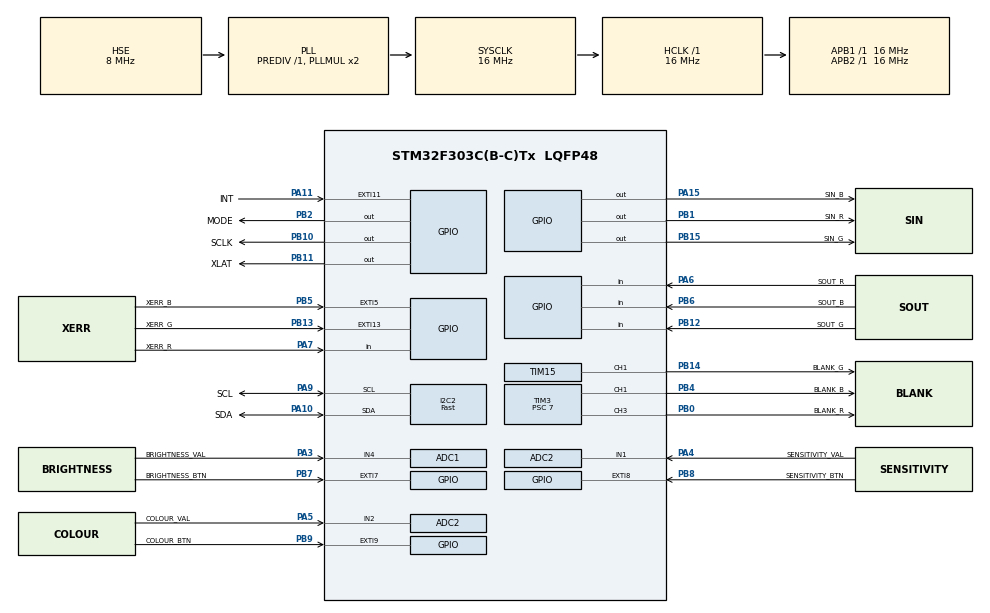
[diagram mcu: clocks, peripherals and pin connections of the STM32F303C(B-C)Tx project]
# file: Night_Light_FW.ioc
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ADC1.Channel-0\#ChannelRegularConversion=ADC_CHANNEL_4
ADC1.ContinuousConvMode=ENABLE
ADC1.EnableInjectedConversion=DISABLE
ADC1.Mode=ADC_MODE_INDEPENDENT
ADC1.NbrOfConversionFlag=1
ADC1.Offset-0\#ChannelRegularConversion=0
ADC1.OffsetNumber-0\#ChannelRegularConversion=ADC_OFFSET_NONE
ADC1.Rank-0\#ChannelRegularConversion=1
ADC1.SamplingTime-0\#ChannelRegularConversion=ADC_SAMPLETIME_601CYCLES_5
ADC1.SamplingTimeOPAMP-0\#ChannelRegularConversion=ADC_SAMPLETIME_4CYCLES_5
ADC1.master=1
ADC2.Channel-3\#ChannelRegularConversion=ADC_CHANNEL_2
ADC2.ContinuousConvMode=ENABLE
ADC2.DMAContinuousRequests=ENABLE
ADC2.EnableInjectedConversion=DISABLE
ADC2.NbrOfConversion=2
ADC2.NbrOfConversionFlag=1
ADC2.Offset-3\#ChannelRegularConversion=0
ADC2.OffsetNumber-3\#ChannelRegularConversion=ADC_OFFSET_NONE
ADC2.Rank-3\#ChannelRegularConversion=2
ADC2.SamplingTime-0\#ChannelRegularConversion=ADC_SAMPLETIME_601CYCLES_5
ADC2.SamplingTime-3\#ChannelRegularConversion=ADC_SAMPLETIME_601CYCLES_5
ADC2.SamplingTimeOPAMP-3\#ChannelRegularConversion=ADC_SAMPLETIME_7CYCLES_5
ADC2.SequencerNbRanks=2
Dma.ADC2.0.Direction=DMA_PERIPH_TO_MEMORY
Dma.ADC2.0.Instance=DMA2_Channel1
Dma.ADC2.0.MemDataAlignment=DMA_MDATAALIGN_HALFWORD
Dma.ADC2.0.MemInc=DMA_MINC_ENABLE
Dma.ADC2.0.Mode=DMA_CIRCULAR
Dma.ADC2.0.PeriphDataAlignment=DMA_PDATAALIGN_HALFWORD
Dma.ADC2.0.PeriphInc=DMA_PINC_DISABLE
Dma.ADC2.0.Priority=DMA_PRIORITY_LOW
Dma.Request0=ADC2
I2C2.I2C_Speed_Mode=I2C_Fast
I2C2.Speed=100
I2C2.Timing=0x00100A8E
Mcu.Family=STM32F3
Mcu.Name=STM32F303C(B-C)Tx
Mcu.Package=LQFP48
NVIC.DMA2_Channel1_IRQn=true\:0\:0\:false\:false\:true\:false\:true\:true
NVIC.EXTI15_10_IRQn=true\:0\:0\:false\:false\:true\:true\:true\:true
NVIC.EXTI9_5_IRQn=true\:0\:0\:false\:false\:true\:true\:true\:true
NVIC.I2C2_ER_IRQn=true\:0\:0\:false\:false\:true\:true\:true\:true
NVIC.I2C2_EV_IRQn=true\:0\:0\:false\:false\:true\:true\:true\:true
NVIC.PriorityGroup=NVIC_PRIORITYGROUP_4
NVIC.TIM2_IRQn=true\:0\:0\:false\:false\:true\:true\:true\:true
PA10.GPIO_Label=SDA
PA10.Mode=I2C
PA10.Signal=I2C2_SDA
PA11.GPIO_Label=INT
PA11.GPIO_ModeDefaultEXTI=GPIO_MODE_IT_FALLING
PA11.Signal=GPXTI11
PA13.GPIO_Label=SWDIO
PA13.Mode=Trace_Asynchronous_SW
PA13.Signal=SYS_JTMS-SWDIO
PA14.GPIO_Label=SWCLK
PA14.Mode=Trace_Asynchronous_SW
PA14.Signal=SYS_JTCK-SWCLK
PA15.GPIO_Label=SIN_B
PA15.Signal=GPIO_Output
PA3.GPIO_Label=BRIGHTNESS_VAL
PA3.Mode=IN4-Single-Ended
PA3.Signal=ADC1_IN4
PA4.GPIO_Label=SENSITIVITY_VAL
PA4.GPIO_Mode=GPIO_MODE_ANALOG
PA4.GPIO_PuPd=GPIO_NOPULL
PA4.Mode=IN1-Single-Ended
PA4.Signal=ADC2_IN1
PA5.GPIO_Label=COLOUR_VAL
PA5.GPIO_Mode=GPIO_MODE_ANALOG
PA5.GPIO_PuPd=GPIO_NOPULL
PA5.Mode=IN2-Single-Ended
PA5.Signal=ADC2_IN2
PA6.GPIO_Label=SOUT_R
PA6.GPIO_PuPd=GPIO_PULLUP
PA6.Signal=GPIO_Input
PA7.GPIO_Label=XERR_R
PA7.GPIO_PuPd=GPIO_PULLUP
PA7.Signal=GPIO_Input
PA9.GPIO_Label=SCL
PA9.Mode=I2C
PA9.Signal=I2C2_SCL
PB0.GPIO_Label=BLANK_R
PB0.Signal=S_TIM3_CH3
PB1.GPIO_Label=SIN_R
PB1.Signal=GPIO_Output
PB10.GPIO_Label=SCLK
PB10.Signal=GPIO_Output
PB11.GPIO_Label=XLAT
PB11.Signal=GPIO_Output
PB12.GPIO_Label=SOUT_G
PB12.GPIO_PuPd=GPIO_PULLUP
PB12.Signal=GPIO_Input
PB13.GPIO_Label=XERR_G
PB13.GPIO_ModeDefaultEXTI=GPIO_MODE_IT_RISING_FALLING
PB13.GPIO_PuPd=GPIO_PULLUP
PB13.Signal=GPXTI13
PB14.GPIO_Label=BLANK_G
PB14.Signal=S_TIM15_CH1
PB15.GPIO_Label=SIN_G
PB15.Signal=GPIO_Output
PB2.GPIO_Label=MODE
PB2.Signal=GPIO_Output
PB3.GPIO_Label=SWO
PB3.Mode=Trace_Asynchronous_SW
PB3.Signal=SYS_JTDO-TRACESWO
PB4.GPIO_Label=BLANK_B
PB4.Signal=S_TIM3_CH1
PB5.GPIO_Label=XERR_B
PB5.GPIO_ModeDefaultEXTI=GPIO_MODE_IT_RISING_FALLING
PB5.GPIO_PuPd=GPIO_PULLUP
PB5.Signal=GPXTI5
PB6.GPIO_Label=SOUT_B
PB6.GPIO_PuPd=GPIO_PULLUP
PB6.Signal=GPIO_Input
PB7.GPIO_Label=BRIGHTNESS_BTN
PB7.GPIO_ModeDefaultEXTI=GPIO_MODE_IT_RISING_FALLING
PB7.Signal=GPXTI7
PB8.GPIO_Label=SENSITIVITY_BTN
PB8.GPIO_ModeDefaultEXTI=GPIO_MODE_IT_RISING_FALLING
PB8.Signal=GPXTI8
PB9.GPIO_Label=COLOUR_BTN
PB9.GPIO_ModeDefaultEXTI=GPIO_MODE_IT_RISING_FALLING
PB9.Signal=GPXTI9
PF0-OSC_IN.Mode=HSE-External-Oscillator
PF0-OSC_IN.Signal=RCC_OSC_IN
PF1-OSC_OUT.Mode=HSE-External-Oscillator
PF1-OSC_OUT.Signal=RCC_OSC_OUT
ProjectManager.HeapSize=0x200
ProjectManager.StackSize=0x400
ProjectManager.TargetToolchain=STM32CubeIDE
RCC.AHBFreq_Value=16000000
RCC.APB1Freq_Value=16000000
RCC.APB1TimFreq_Value=16000000
RCC.APB2Freq_Value=16000000
RCC.APB2TimFreq_Value=16000000
RCC.CortexFreq_Value=16000000
RCC.HCLKFreq_Value=16000000
RCC.HSE_VALUE=8000000
RCC.HSI_VALUE=8000000
RCC.I2c2ClockSelection=RCC_I2C2CLKSOURCE_SYSCLK
RCC.LSE_VALUE=32768
RCC.PLLSourceVirtual=RCC_PLLSOURCE_HSE
RCC.SYSCLKFreq_VALUE=16000000
RCC.SYSCLKSourceVirtual=RCC_SYSCLKSOURCE_PLLCLK
RCC.USBFreq_Value=16000000
SH.S_TIM15_CH1.0=TIM15_CH1,PWM Generation1 CH1
SH.S_TIM3_CH1.0=TIM3_CH1,PWM Generation1 CH1
SH.S_TIM3_CH3.0=TIM3_CH3,PWM Generation3 CH3
TIM15.Channel-PWM\ Generation1\ CH1=TIM_CHANNEL_1
TIM15.Period=1000
TIM15.Prescaler=7
TIM15.Pulse-PWM\ Generation1\ CH1=500
TIM2.Period=1000
TIM2.Prescaler=63
TIM3.AutoReloadPreload=TIM_AUTORELOAD_PRELOAD_ENABLE
TIM3.Channel-PWM\ Generation1\ CH1=TIM_CHANNEL_1
TIM3.Channel-PWM\ Generation3\ CH3=TIM_CHANNEL_3
TIM3.Period=1000
TIM3.Prescaler=7
VP_TIM2_VS_ClockSourceINT.Mode=Internal
VP_TIM3_VS_ClockSourceINT.Mode=Internal
board=custom

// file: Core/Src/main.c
/* USER CODE BEGIN Header */
/**
 ******************************************************************************
 * @file           : main.c
 * @brief          : Main program body
 ******************************************************************************
 * @attention
 *
 * Copyright (c) 2023 STMicroelectronics.
 * All rights reserved.
 *
 * This software is licensed under terms that can be found in the LICENSE file
 * in the root directory of this software component.
 * If no LICENSE file comes with this software, it is provided AS-IS.
 *
 ******************************************************************************
 */
/* USER CODE END Header */
#include "main.h"

/* USER CODE BEGIN Includes */
#include <stdint.h>
#include "globals.h"
#include "LED_driver_config.h"
#include "state_machine.h"
#include "colour_control.h"
#include "external_interrupts.h"
#include "timers.h"
#include <stdio.h>
#include "debug_flags.h"

/* USER CODE END Includes */

ADC_HandleTypeDef hadc1;
ADC_HandleTypeDef hadc2;
DMA_HandleTypeDef hdma_adc2;

I2C_HandleTypeDef hi2c2;

TIM_HandleTypeDef htim2;
TIM_HandleTypeDef htim3;
TIM_HandleTypeDef htim15;

/* USER CODE BEGIN PV */

uint16_t pot1_moving_average_buffer[MOVING_AVERAGE_SIZE] = { 0 };
uint16_t pot2_moving_average_buffer[MOVING_AVERAGE_SIZE] = { 0 };
uint16_t pot3_moving_average_buffer[MOVING_AVERAGE_SIZE] = { 0 };
uint16_t pot1_buffer_sum = 0;
uint16_t pot2_buffer_sum = 0;
uint16_t pot3_buffer_sum = 0;
uint8_t buffer_index = 0;
volatile uint16_t pot1_moving_average = 0;
volatile uint16_t pot2_moving_average = 0;
volatile uint16_t pot3_moving_average = 0;
volatile uint16_t adc2_dma_buffer[NUM_DMA_CHANNELS];

volatile PotFlag potentiometer_flag = WAITING_FOR_READING;

State colour_mode = WHITE_LIGHT;
State previous_state = WHITE_LIGHT;
State current_state = STANDBY;
PotCalibrationSubstate pot_cal_substate = POT_CALIBRATION_START;
LEDCalibrationSubstate led_cal_substate = LED_CALIBRATION_START;

volatile EventType event_flag = NO_EVENT;

ButtonState brightness_btn_state = NONE;
ButtonState colour_btn_state = NONE;
ButtonState sensitivity_btn_state = NONE;

uint32_t brightness_btn_time;
uint32_t colour_btn_time;
uint32_t sensitivity_btn_time;

uint8_t red_thermal_error_flag = 0;
uint8_t green_thermal_error_flag = 0;
uint8_t blue_thermal_error_flag = 0;
uint16_t red_lod_flag = 0;
uint16_t green_lod_flag = 0;
uint16_t blue_lod_flag = 0;

volatile uint32_t mlux_reading = 0xFFFFFFFF;

volatile SensorFlag light_sensor_flag = WAITING;

uint16_t pot1_calibration_buffer[2];
uint16_t pot2_calibration_buffer[2];
uint16_t pot3_calibration_buffer[2];

uint16_t led_calibration_buffer[NUM_LEDS][3];

uint32_t brightness_calibration_buffer[1 + (NUM_CAL_INCS + 1) + 1][2];
uint32_t white_calibration_buffer[1 + (NUM_CAL_INCS + 1) + 1][2];
uint32_t colour_calibration_buffer[1 + NUM_CAL_INCS + 1][2];

volatile CalibrationFlag pot_calibration_flag = INITIALISE_CALIBRATIONS;
volatile CalibrationFlag led_calibration_flag = INITIALISE_CALIBRATIONS;
volatile CalibrationFlag sensor_calibration_flag = INITIALISE_CALIBRATIONS;

/* USER CODE END PV */

void SystemClock_Config(void);
static void MX_GPIO_Init(void);
static void MX_DMA_Init(void);
static void MX_ADC1_Init(void);
static void MX_ADC2_Init(void);
static void MX_I2C2_Init(void);
static void MX_TIM3_Init(void);
static void MX_TIM15_Init(void);
static void MX_TIM2_Init(void);

int main(void) {

	/* MCU Configuration--------------------------------------------------------*/

	/* Reset of all peripherals, Initializes the Flash interface and the Systick. */
	HAL_Init();

	/* Configure the system clock */
	SystemClock_Config();

	/* USER CODE BEGIN SysInit */
	printf("          \n");
	printf("Night Light v0.2\n");
	printf("Happy (belated) zeroth birthday, Gabby!\n\n\n\n");

#ifdef DEBUG_INIT
	printf("STARTING INITIALISATION PROCESS\n");
	printf("\nSYSTEM CLOCK CONFIGURED\n");
#endif /* DEBUG_INIT */
	/* USER CODE END SysInit */

	/* Initialize all configured peripherals */
	MX_GPIO_Init();
	MX_DMA_Init();
	MX_ADC1_Init();
	MX_ADC2_Init();
	MX_I2C2_Init();
	MX_TIM3_Init();
	MX_TIM15_Init();
	MX_TIM2_Init();
	/* USER CODE BEGIN 2 */

	initialise_button_states();

	uint8_t led_init_config[16] = { SET };

	if (initialise_LED_drivers(led_init_config) != LED_DRIVER_OK) {
#ifdef DEBUG_INIT
		printf("LED DRIVER INITIALISATION FAILED\n");
#endif /* DEBUG_INIT */
	} else {
#ifdef DEBUG_INIT
		printf("LED DRIVER INITIALISATION SUCCESSFUL\n");
#endif /* DEBUG_INIT */
	}

	if (initialise_light_sensor() != INIT_SUCCESSFUL) {
#ifdef DEBUG_INIT
		printf("LIGHT SENSOR INITIALISATION FAILED\n");
#endif /* DEBUG_INIT */
	} else {
#ifdef DEBUG_INIT
		printf("LIGHT SENSOR INITIALISATION SUCCESSFUL\n");
#endif /* DEBUG_INIT */
	}

#ifdef DEBUG_INIT
	printf("\nCHECKING FOR LED DRIVER ERRORS\n");
#endif /* DEBUG_INIT */
	determine_led_errors();

	HAL_ADC_Start(&hadc1);
	HAL_ADC_Start_DMA(&hadc2, (uint32_t*) adc2_dma_buffer, NUM_DMA_CHANNELS);
	HAL_TIM_Base_Start_IT(&htim2);
#ifdef DEBUG_INIT
	printf("\nADC READINGS STARTED\n");
#endif /* DEBUG_INIT */

	HAL_TIM_PWM_Start(&htim3, TIM_CHANNEL_1);
	HAL_TIM_PWM_Start(&htim3, TIM_CHANNEL_3);
	HAL_TIM_PWM_Start(&htim15, TIM_CHANNEL_1);

#ifdef DEBUG_INIT
	printf("\nLED PWM STARTED\n");
#endif /* DEBUG_INIT */

#ifdef DEBUG_INIT
	printf("\nINITIALISATION PROCESS COMPLETE\n");
	printf("ENTERING MAIN WHILE LOOP...\n\n");
#endif /* DEBUG_INIT */

	/* For testing only: */
	event_flag = AMBIENT_LIGHT_TURN_ON;		///< Force out of STANDBY state.

	/* USER CODE END 2 */

	/* Infinite loop */
	/* USER CODE BEGIN WHILE */

	uint16_t pulse_values[3];
	uint32_t hysteresis_thresholds[2];

	while (1) {

		if (event_flag != NO_EVENT) {
			update_state(event_flag);
			event_flag = NO_EVENT;  // Reset the flag after handling the event
		}

		if (potentiometer_flag == NEW_READING_READY) {
//		  printf("%u    %u    %u\n", pot1_moving_average, pot2_moving_average, pot3_moving_average);
			/* Set pulse value according to brightness potentiometer. */
			calculate_pulse_values(pulse_values);
			set_pulse_values(pulse_values);

			/* Compute new hysteresis thresholds. */
			update_hysteresis_thresholds(hysteresis_thresholds);

			/* Reset potentiometer flag. */
			potentiometer_flag = WAITING_FOR_READING;
		}

		check_for_on_off(hysteresis_thresholds);

//	  /* To test HAL_GetTick: */
//	  uint32_t time = HAL_GetTick();
//	  printf("%lu\n", time);
//	  HAL_Delay(1000);

		/* USER CODE END WHILE */

	}
}

void SystemClock_Config(void) {
	RCC_OscInitTypeDef RCC_OscInitStruct = { 0 };
	RCC_ClkInitTypeDef RCC_ClkInitStruct = { 0 };
	RCC_PeriphCLKInitTypeDef PeriphClkInit = { 0 };

	/** Initializes the RCC Oscillators according to the specified parameters
	 * in the RCC_OscInitTypeDef structure.
	 */
	RCC_OscInitStruct.OscillatorType = RCC_OSCILLATORTYPE_HSE;
	RCC_OscInitStruct.HSEState = RCC_HSE_ON;
	RCC_OscInitStruct.HSEPredivValue = RCC_HSE_PREDIV_DIV1;
	RCC_OscInitStruct.HSIState = RCC_HSI_ON;
	RCC_OscInitStruct.PLL.PLLState = RCC_PLL_ON;
	RCC_OscInitStruct.PLL.PLLSource = RCC_PLLSOURCE_HSE;
	RCC_OscInitStruct.PLL.PLLMUL = RCC_PLL_MUL2;
	if (HAL_RCC_OscConfig(&RCC_OscInitStruct) != HAL_OK) {
		Error_Handler();
	}

	/** Initializes the CPU, AHB and APB buses clocks
	 */
	RCC_ClkInitStruct.ClockType = RCC_CLOCKTYPE_HCLK | RCC_CLOCKTYPE_SYSCLK
			| RCC_CLOCKTYPE_PCLK1 | RCC_CLOCKTYPE_PCLK2;
	RCC_ClkInitStruct.SYSCLKSource = RCC_SYSCLKSOURCE_PLLCLK;
	RCC_ClkInitStruct.AHBCLKDivider = RCC_SYSCLK_DIV1;
	RCC_ClkInitStruct.APB1CLKDivider = RCC_HCLK_DIV1;
	RCC_ClkInitStruct.APB2CLKDivider = RCC_HCLK_DIV1;

	if (HAL_RCC_ClockConfig(&RCC_ClkInitStruct, FLASH_LATENCY_0) != HAL_OK) {
		Error_Handler();
	}
	PeriphClkInit.PeriphClockSelection = RCC_PERIPHCLK_I2C2
			| RCC_PERIPHCLK_ADC12;
	PeriphClkInit.Adc12ClockSelection = RCC_ADC12PLLCLK_DIV1;
	PeriphClkInit.I2c2ClockSelection = RCC_I2C2CLKSOURCE_SYSCLK;
	if (HAL_RCCEx_PeriphCLKConfig(&PeriphClkInit) != HAL_OK) {
		Error_Handler();
	}
}

static void MX_ADC1_Init(void) {

	ADC_MultiModeTypeDef multimode = { 0 };
	ADC_ChannelConfTypeDef sConfig = { 0 };

	/** Common config
	 */
	hadc1.Instance = ADC1;
	hadc1.Init.ClockPrescaler = ADC_CLOCK_ASYNC_DIV1;
	hadc1.Init.Resolution = ADC_RESOLUTION_12B;
	hadc1.Init.ScanConvMode = ADC_SCAN_DISABLE;
	hadc1.Init.ContinuousConvMode = ENABLE;
	hadc1.Init.DiscontinuousConvMode = DISABLE;
	hadc1.Init.ExternalTrigConvEdge = ADC_EXTERNALTRIGCONVEDGE_NONE;
	hadc1.Init.ExternalTrigConv = ADC_SOFTWARE_START;
	hadc1.Init.DataAlign = ADC_DATAALIGN_RIGHT;
	hadc1.Init.NbrOfConversion = 1;
	hadc1.Init.DMAContinuousRequests = DISABLE;
	hadc1.Init.EOCSelection = ADC_EOC_SINGLE_CONV;
	hadc1.Init.LowPowerAutoWait = DISABLE;
	hadc1.Init.Overrun = ADC_OVR_DATA_OVERWRITTEN;
	if (HAL_ADC_Init(&hadc1) != HAL_OK) {
		Error_Handler();
	}

	/** Configure the ADC multi-mode
	 */
	multimode.Mode = ADC_MODE_INDEPENDENT;
	if (HAL_ADCEx_MultiModeConfigChannel(&hadc1, &multimode) != HAL_OK) {
		Error_Handler();
	}

	/** Configure Regular Channel
	 */
	sConfig.Channel = ADC_CHANNEL_4;
	sConfig.Rank = ADC_REGULAR_RANK_1;
	sConfig.SingleDiff = ADC_SINGLE_ENDED;
	sConfig.SamplingTime = ADC_SAMPLETIME_601CYCLES_5;
	sConfig.OffsetNumber = ADC_OFFSET_NONE;
	sConfig.Offset = 0;
	if (HAL_ADC_ConfigChannel(&hadc1, &sConfig) != HAL_OK) {
		Error_Handler();
	}
	/* USER CODE BEGIN ADC1_Init 2 */
#ifdef DEBUG_INIT
	printf("ADC1 INITIALISED\n");
#endif /* DEBUG_INIT */
	/* USER CODE END ADC1_Init 2 */

}

static void MX_ADC2_Init(void) {

	ADC_ChannelConfTypeDef sConfig = { 0 };

	/** Common config
	 */
	hadc2.Instance = ADC2;
	hadc2.Init.ClockPrescaler = ADC_CLOCK_ASYNC_DIV1;
	hadc2.Init.Resolution = ADC_RESOLUTION_12B;
	hadc2.Init.ScanConvMode = ADC_SCAN_ENABLE;
	hadc2.Init.ContinuousConvMode = ENABLE;
	hadc2.Init.DiscontinuousConvMode = DISABLE;
	hadc2.Init.ExternalTrigConvEdge = ADC_EXTERNALTRIGCONVEDGE_NONE;
	hadc2.Init.ExternalTrigConv = ADC_SOFTWARE_START;
	hadc2.Init.DataAlign = ADC_DATAALIGN_RIGHT;
	hadc2.Init.NbrOfConversion = 2;
	hadc2.Init.DMAContinuousRequests = ENABLE;
	hadc2.Init.EOCSelection = ADC_EOC_SINGLE_CONV;
	hadc2.Init.LowPowerAutoWait = DISABLE;
	hadc2.Init.Overrun = ADC_OVR_DATA_OVERWRITTEN;
	if (HAL_ADC_Init(&hadc2) != HAL_OK) {
		Error_Handler();
	}

	/** Configure Regular Channel
	 */
	sConfig.Channel = ADC_CHANNEL_1;
	sConfig.Rank = ADC_REGULAR_RANK_1;
	sConfig.SingleDiff = ADC_SINGLE_ENDED;
	sConfig.SamplingTime = ADC_SAMPLETIME_601CYCLES_5;
	sConfig.OffsetNumber = ADC_OFFSET_NONE;
	sConfig.Offset = 0;
	if (HAL_ADC_ConfigChannel(&hadc2, &sConfig) != HAL_OK) {
		Error_Handler();
	}

	/** Configure Regular Channel
	 */
	sConfig.Channel = ADC_CHANNEL_2;
	sConfig.Rank = ADC_REGULAR_RANK_2;
	if (HAL_ADC_ConfigChannel(&hadc2, &sConfig) != HAL_OK) {
		Error_Handler();
	}
	/* USER CODE BEGIN ADC2_Init 2 */
#ifdef DEBUG_INIT
	printf("ADC2 INITIALISED\n");
#endif /* DEBUG_INIT */
	/* USER CODE END ADC2_Init 2 */

}

static void MX_I2C2_Init(void) {

	hi2c2.Instance = I2C2;
	hi2c2.Init.Timing = 0x00100A8E;
	hi2c2.Init.OwnAddress1 = 0;
	hi2c2.Init.AddressingMode = I2C_ADDRESSINGMODE_7BIT;
	hi2c2.Init.DualAddressMode = I2C_DUALADDRESS_DISABLE;
	hi2c2.Init.OwnAddress2 = 0;
	hi2c2.Init.OwnAddress2Masks = I2C_OA2_NOMASK;
	hi2c2.Init.GeneralCallMode = I2C_GENERALCALL_DISABLE;
	hi2c2.Init.NoStretchMode = I2C_NOSTRETCH_DISABLE;
	if (HAL_I2C_Init(&hi2c2) != HAL_OK) {
		Error_Handler();
	}

	/** Configure Analogue filter
	 */
	if (HAL_I2CEx_ConfigAnalogFilter(&hi2c2, I2C_ANALOGFILTER_ENABLE)
			!= HAL_OK) {
		Error_Handler();
	}

	/** Configure Digital filter
	 */
	if (HAL_I2CEx_ConfigDigitalFilter(&hi2c2, 0) != HAL_OK) {
		Error_Handler();
	}
	/* USER CODE BEGIN I2C2_Init 2 */
#ifdef DEBUG_INIT
	printf("I2C2 INITIALISED\n");
#endif /* DEBUG_INIT */
	/* USER CODE END I2C2_Init 2 */

}

static void MX_TIM2_Init(void) {

	TIM_ClockConfigTypeDef sClockSourceConfig = { 0 };
	TIM_MasterConfigTypeDef sMasterConfig = { 0 };

	htim2.Instance = TIM2;
	htim2.Init.Prescaler = 63;
	htim2.Init.CounterMode = TIM_COUNTERMODE_UP;
	htim2.Init.Period = 1000;
	htim2.Init.ClockDivision = TIM_CLOCKDIVISION_DIV1;
	htim2.Init.AutoReloadPreload = TIM_AUTORELOAD_PRELOAD_DISABLE;
	if (HAL_TIM_Base_Init(&htim2) != HAL_OK) {
		Error_Handler();
	}
	sClockSourceConfig.ClockSource = TIM_CLOCKSOURCE_INTERNAL;
	if (HAL_TIM_ConfigClockSource(&htim2, &sClockSourceConfig) != HAL_OK) {
		Error_Handler();
	}
	sMasterConfig.MasterOutputTrigger = TIM_TRGO_RESET;
	sMasterConfig.MasterSlaveMode = TIM_MASTERSLAVEMODE_DISABLE;
	if (HAL_TIMEx_MasterConfigSynchronization(&htim2, &sMasterConfig)
			!= HAL_OK) {
		Error_Handler();
	}
	/* USER CODE BEGIN TIM2_Init 2 */
#ifdef DEBUG_INIT
	printf("TIM2 INITIALISED\n");
#endif /* DEBUG_INIT */
	/* USER CODE END TIM2_Init 2 */

}

static void MX_TIM3_Init(void) {

	TIM_ClockConfigTypeDef sClockSourceConfig = { 0 };
	TIM_MasterConfigTypeDef sMasterConfig = { 0 };
	TIM_OC_InitTypeDef sConfigOC = { 0 };

	htim3.Instance = TIM3;
	htim3.Init.Prescaler = 7;
	htim3.Init.CounterMode = TIM_COUNTERMODE_UP;
	htim3.Init.Period = 1000;
	htim3.Init.ClockDivision = TIM_CLOCKDIVISION_DIV1;
	htim3.Init.AutoReloadPreload = TIM_AUTORELOAD_PRELOAD_ENABLE;
	if (HAL_TIM_Base_Init(&htim3) != HAL_OK) {
		Error_Handler();
	}
	sClockSourceConfig.ClockSource = TIM_CLOCKSOURCE_INTERNAL;
	if (HAL_TIM_ConfigClockSource(&htim3, &sClockSourceConfig) != HAL_OK) {
		Error_Handler();
	}
	if (HAL_TIM_PWM_Init(&htim3) != HAL_OK) {
		Error_Handler();
	}
	sMasterConfig.MasterOutputTrigger = TIM_TRGO_RESET;
	sMasterConfig.MasterSlaveMode = TIM_MASTERSLAVEMODE_DISABLE;
	if (HAL_TIMEx_MasterConfigSynchronization(&htim3, &sMasterConfig)
			!= HAL_OK) {
		Error_Handler();
	}
	sConfigOC.OCMode = TIM_OCMODE_PWM1;
	sConfigOC.Pulse = 0;
	sConfigOC.OCPolarity = TIM_OCPOLARITY_HIGH;
	sConfigOC.OCFastMode = TIM_OCFAST_DISABLE;
	if (HAL_TIM_PWM_ConfigChannel(&htim3, &sConfigOC, TIM_CHANNEL_1)
			!= HAL_OK) {
		Error_Handler();
	}
	if (HAL_TIM_PWM_ConfigChannel(&htim3, &sConfigOC, TIM_CHANNEL_3)
			!= HAL_OK) {
		Error_Handler();
	}
	/* USER CODE BEGIN TIM3_Init 2 */
#ifdef DEBUG_INIT
	printf("TIM3 INITIALISED\n");
#endif /* DEBUG_INIT */
	/* USER CODE END TIM3_Init 2 */
	HAL_TIM_MspPostInit(&htim3);

}

static void MX_TIM15_Init(void) {

	TIM_MasterConfigTypeDef sMasterConfig = { 0 };
	TIM_OC_InitTypeDef sConfigOC = { 0 };
	TIM_BreakDeadTimeConfigTypeDef sBreakDeadTimeConfig = { 0 };

	htim15.Instance = TIM15;
	htim15.Init.Prescaler = 7;
	htim15.Init.CounterMode = TIM_COUNTERMODE_UP;
	htim15.Init.Period = 1000;
	htim15.Init.ClockDivision = TIM_CLOCKDIVISION_DIV1;
	htim15.Init.RepetitionCounter = 0;
	htim15.Init.AutoReloadPreload = TIM_AUTORELOAD_PRELOAD_DISABLE;
	if (HAL_TIM_PWM_Init(&htim15) != HAL_OK) {
		Error_Handler();
	}
	sMasterConfig.MasterOutputTrigger = TIM_TRGO_RESET;
	sMasterConfig.MasterSlaveMode = TIM_MASTERSLAVEMODE_DISABLE;
	if (HAL_TIMEx_MasterConfigSynchronization(&htim15, &sMasterConfig)
			!= HAL_OK) {
		Error_Handler();
	}
	sConfigOC.OCMode = TIM_OCMODE_PWM1;
	sConfigOC.Pulse = 500;
	sConfigOC.OCPolarity = TIM_OCPOLARITY_HIGH;
	sConfigOC.OCNPolarity = TIM_OCNPOLARITY_HIGH;
	sConfigOC.OCFastMode = TIM_OCFAST_DISABLE;
	sConfigOC.OCIdleState = TIM_OCIDLESTATE_RESET;
	sConfigOC.OCNIdleState = TIM_OCNIDLESTATE_RESET;
	if (HAL_TIM_PWM_ConfigChannel(&htim15, &sConfigOC, TIM_CHANNEL_1)
			!= HAL_OK) {
		Error_Handler();
	}
	sBreakDeadTimeConfig.OffStateRunMode = TIM_OSSR_DISABLE;
	sBreakDeadTimeConfig.OffStateIDLEMode = TIM_OSSI_DISABLE;
	sBreakDeadTimeConfig.LockLevel = TIM_LOCKLEVEL_OFF;
	sBreakDeadTimeConfig.DeadTime = 0;
	sBreakDeadTimeConfig.BreakState = TIM_BREAK_DISABLE;
	sBreakDeadTimeConfig.BreakPolarity = TIM_BREAKPOLARITY_HIGH;
	sBreakDeadTimeConfig.BreakFilter = 0;
	sBreakDeadTimeConfig.AutomaticOutput = TIM_AUTOMATICOUTPUT_DISABLE;
	if (HAL_TIMEx_ConfigBreakDeadTime(&htim15, &sBreakDeadTimeConfig)
			!= HAL_OK) {
		Error_Handler();
	}
	/* USER CODE BEGIN TIM15_Init 2 */
#ifdef DEBUG_INIT
	printf("TIM15 INITIALISED\n");
#endif /* DEBUG_INIT */
	/* USER CODE END TIM15_Init 2 */
	HAL_TIM_MspPostInit(&htim15);

}

static void MX_DMA_Init(void) {

	/* DMA controller clock enable */
	__HAL_RCC_DMA2_CLK_ENABLE();

	/* DMA interrupt init */
	/* DMA2_Channel1_IRQn interrupt configuration */
	HAL_NVIC_SetPriority(DMA2_Channel1_IRQn, 0, 0);
	HAL_NVIC_EnableIRQ(DMA2_Channel1_IRQn);

}

static void MX_GPIO_Init(void) {
	GPIO_InitTypeDef GPIO_InitStruct = { 0 };

	/* GPIO Ports Clock Enable */
	__HAL_RCC_GPIOF_CLK_ENABLE();
	__HAL_RCC_GPIOA_CLK_ENABLE();
	__HAL_RCC_GPIOB_CLK_ENABLE();

	/*Configure GPIO pin Output Level */
	HAL_GPIO_WritePin(GPIOB,
	SIN_R_Pin | MODE_Pin | SCLK_Pin | XLAT_Pin | SIN_G_Pin, GPIO_PIN_RESET);

	/*Configure GPIO pin Output Level */
	HAL_GPIO_WritePin(SIN_B_GPIO_Port, SIN_B_Pin, GPIO_PIN_RESET);

	/*Configure GPIO pins : SOUT_R_Pin XERR_R_Pin */
	GPIO_InitStruct.Pin = SOUT_R_Pin | XERR_R_Pin;
	GPIO_InitStruct.Mode = GPIO_MODE_INPUT;
	GPIO_InitStruct.Pull = GPIO_PULLUP;
	HAL_GPIO_Init(GPIOA, &GPIO_InitStruct);

	/*Configure GPIO pins : SIN_R_Pin MODE_Pin SCLK_Pin XLAT_Pin
	 SIN_G_Pin */
	GPIO_InitStruct.Pin =
	SIN_R_Pin | MODE_Pin | SCLK_Pin | XLAT_Pin | SIN_G_Pin;
	GPIO_InitStruct.Mode = GPIO_MODE_OUTPUT_PP;
	GPIO_InitStruct.Pull = GPIO_NOPULL;
	GPIO_InitStruct.Speed = GPIO_SPEED_FREQ_LOW;
	HAL_GPIO_Init(GPIOB, &GPIO_InitStruct);

	/*Configure GPIO pins : SOUT_G_Pin SOUT_B_Pin */
	GPIO_InitStruct.Pin = SOUT_G_Pin | SOUT_B_Pin;
	GPIO_InitStruct.Mode = GPIO_MODE_INPUT;
	GPIO_InitStruct.Pull = GPIO_PULLUP;
	HAL_GPIO_Init(GPIOB, &GPIO_InitStruct);

	/*Configure GPIO pins : XERR_G_Pin XERR_B_Pin */
	GPIO_InitStruct.Pin = XERR_G_Pin | XERR_B_Pin;
	GPIO_InitStruct.Mode = GPIO_MODE_IT_RISING_FALLING;
	GPIO_InitStruct.Pull = GPIO_PULLUP;
	HAL_GPIO_Init(GPIOB, &GPIO_InitStruct);

	/*Configure GPIO pin : INT_Pin */
	GPIO_InitStruct.Pin = INT_Pin;
	GPIO_InitStruct.Mode = GPIO_MODE_IT_FALLING;
	GPIO_InitStruct.Pull = GPIO_NOPULL;
	HAL_GPIO_Init(INT_GPIO_Port, &GPIO_InitStruct);

	/*Configure GPIO pin : SIN_B_Pin */
	GPIO_InitStruct.Pin = SIN_B_Pin;
	GPIO_InitStruct.Mode = GPIO_MODE_OUTPUT_PP;
	GPIO_InitStruct.Pull = GPIO_NOPULL;
	GPIO_InitStruct.Speed = GPIO_SPEED_FREQ_LOW;
	HAL_GPIO_Init(SIN_B_GPIO_Port, &GPIO_InitStruct);

	/*Configure GPIO pins : BRIGHTNESS_BTN_Pin SENSITIVITY_BTN_Pin COLOUR_BTN_Pin */
	GPIO_InitStruct.Pin = BRIGHTNESS_BTN_Pin | SENSITIVITY_BTN_Pin
			| COLOUR_BTN_Pin;
	GPIO_InitStruct.Mode = GPIO_MODE_IT_RISING_FALLING;
	GPIO_InitStruct.Pull = GPIO_NOPULL;
	HAL_GPIO_Init(GPIOB, &GPIO_InitStruct);

	/* EXTI interrupt init*/
	HAL_NVIC_SetPriority(EXTI9_5_IRQn, 0, 0);
	HAL_NVIC_EnableIRQ(EXTI9_5_IRQn);

	HAL_NVIC_SetPriority(EXTI15_10_IRQn, 0, 0);
	HAL_NVIC_EnableIRQ(EXTI15_10_IRQn);

	/* USER CODE BEGIN MX_GPIO_Init_2 */
#ifdef DEBUG_INIT
	printf("GPIO INITIALISED\n");
#endif /* DEBUG_INIT */
	/* USER CODE END MX_GPIO_Init_2 */
}

/* USER CODE BEGIN 4 */
int _write(int file, char *ptr, int len) {
	(void) file;
	int DataIdx;

	for (DataIdx = 0; DataIdx < len; DataIdx++) {
		ITM_SendChar(*ptr++);
	}
	return len;
}
/* USER CODE END 4 */

void Error_Handler(void) {
	__disable_irq();
	while (1) {
	}
}
